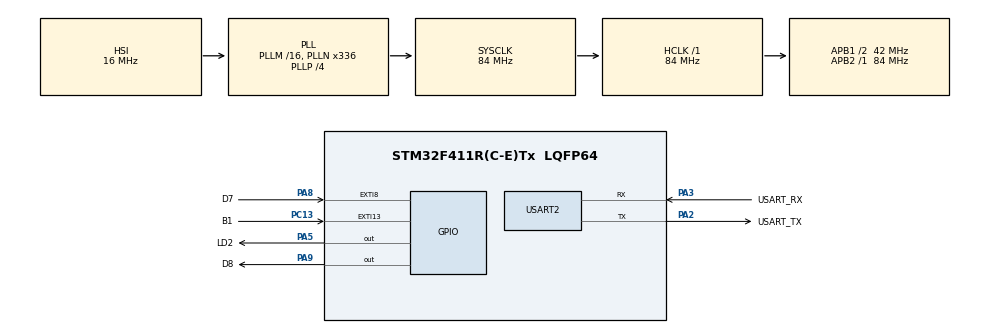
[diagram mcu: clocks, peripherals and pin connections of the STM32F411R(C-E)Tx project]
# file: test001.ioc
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Mcu.Family=STM32F4
Mcu.Name=STM32F411R(C-E)Tx
Mcu.Package=LQFP64
NVIC.EXTI15_10_IRQn=true\:0\:0\:false\:false\:true\:true\:true\:true
NVIC.EXTI9_5_IRQn=true\:0\:0\:false\:false\:true\:true\:true\:true
NVIC.PriorityGroup=NVIC_PRIORITYGROUP_0
PA13.GPIO_Label=TMS
PA13.Mode=Serial_Wire
PA13.Signal=SYS_JTMS-SWDIO
PA14.GPIO_Label=TCK
PA14.Mode=Serial_Wire
PA14.Signal=SYS_JTCK-SWCLK
PA2.GPIO_Label=USART_TX
PA2.Mode=Asynchronous
PA2.Signal=USART2_TX
PA3.GPIO_Label=USART_RX
PA3.Mode=Asynchronous
PA3.Signal=USART2_RX
PA5.GPIO_Label=LD2
PA5.Signal=GPIO_Output
PA8.GPIO_Label=D7
PA8.Signal=GPXTI8
PA9.GPIO_Label=D8
PA9.Signal=GPIO_Output
PB3.GPIO_Label=SWO
PB3.Signal=SYS_JTDO-SWO
PC13-ANTI_TAMP.GPIO_Label=B1
PC13-ANTI_TAMP.GPIO_ModeDefaultEXTI=GPIO_MODE_IT_FALLING
PC13-ANTI_TAMP.Signal=GPXTI13
PC14-OSC32_IN.Mode=LSE-External-Oscillator
PC14-OSC32_IN.Signal=RCC_OSC32_IN
PC15-OSC32_OUT.Mode=LSE-External-Oscillator
PC15-OSC32_OUT.Signal=RCC_OSC32_OUT
PH0\ -\ OSC_IN.Mode=HSE-External-Clock-Source
PH0\ -\ OSC_IN.Signal=RCC_OSC_IN
PH1\ -\ OSC_OUT.Mode=HSE-External-Clock-Source
PH1\ -\ OSC_OUT.Signal=RCC_OSC_OUT
ProjectManager.HeapSize=0x200
ProjectManager.StackSize=0x400
ProjectManager.TargetToolchain=STM32CubeIDE
RCC.48MHZClocksFreq_Value=84000000
RCC.AHBFreq_Value=84000000
RCC.APB1CLKDivider=RCC_HCLK_DIV2
RCC.APB1Freq_Value=42000000
RCC.APB1TimFreq_Value=84000000
RCC.APB2Freq_Value=84000000
RCC.APB2TimFreq_Value=84000000
RCC.CortexFreq_Value=84000000
RCC.FLatency-AdvancedSettings=FLASH_LATENCY_2
RCC.HCLKFreq_Value=84000000
RCC.HSE_VALUE=8000000
RCC.HSI_VALUE=16000000
RCC.PLLN=336
RCC.PLLP=RCC_PLLP_DIV4
RCC.SYSCLKFreq_VALUE=84000000
RCC.SYSCLKSource=RCC_SYSCLKSOURCE_PLLCLK
RCC.VCOOutputFreq_Value=336000000
USART2.VirtualMode=VM_ASYNC
board=NUCLEO-F411RE

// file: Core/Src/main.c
/* USER CODE BEGIN Header */
/**
  ******************************************************************************
  * @file           : main.c
  * @brief          : Main program body
  ******************************************************************************
  * @attention
  *
  * Copyright (c) 2024 STMicroelectronics.
  * All rights reserved.
  *
  * This software is licensed under terms that can be found in the LICENSE file
  * in the root directory of this software component.
  * If no LICENSE file comes with this software, it is provided AS-IS.
  *
  ******************************************************************************
  */
/* USER CODE END Header */
#include "main.h"

/* USER CODE BEGIN Includes */
#include <stdio.h>
/* USER CODE END Includes */

UART_HandleTypeDef huart2;

void SystemClock_Config(void);
static void MX_GPIO_Init(void);
static void MX_USART2_UART_Init(void);

/* USER CODE BEGIN 0 */
int mode = 1;
int del_val = 500;
void StandBy()
{
	while(HAL_GPIO_ReadPin(B1_GPIO_Port, B1_Pin));
}
void HAL_GPIO_EXTI_Callback(uint16_t btn) //External Interrupt ISR
{
	switch(btn)
	{
	case B1_Pin :
		mode = mode ? 0 : 1;
		break;
	//mode = ~mode;
	case D7_Pin :
		del_val = (del_val<100) ? 1000 : del_val - 100;
		break;
	}
}
/* USER CODE END 0 */

int main(void)
{

  /* MCU Configuration--------------------------------------------------------*/

  /* Reset of all peripherals, Initializes the Flash interface and the Systick. */
  HAL_Init();

  /* Configure the system clock */
  SystemClock_Config();

  /* Initialize all configured peripherals */
  MX_GPIO_Init();
  MX_USART2_UART_Init();
  /* USER CODE BEGIN 2 */
  StandBy();

  /* USER CODE END 2 */

  /* Infinite loop */
  while (1)
  {

    /* USER CODE BEGIN 3 */

	  if(mode)
	  {
		  HAL_GPIO_WritePin(LD2_GPIO_Port, LD2_Pin, 1);
		  HAL_Delay(500); // ms
		  HAL_GPIO_WritePin(LD2_GPIO_Port, LD2_Pin, 0);
		  HAL_Delay(500); // ms
	  }
	  else
	  {
		  HAL_GPIO_WritePin(D8_GPIO_Port, D8_Pin, 1);
		  HAL_Delay(del_val); // ms
		  HAL_GPIO_WritePin(D8_GPIO_Port, D8_Pin, 0);
		  HAL_Delay(del_val); // ms
	  }
  }
  /* USER CODE END 3 */
}

void SystemClock_Config(void)
{
  RCC_OscInitTypeDef RCC_OscInitStruct = {0};
  RCC_ClkInitTypeDef RCC_ClkInitStruct = {0};

  /** Configure the main internal regulator output voltage
  */
  __HAL_RCC_PWR_CLK_ENABLE();
  __HAL_PWR_VOLTAGESCALING_CONFIG(PWR_REGULATOR_VOLTAGE_SCALE1);

  /** Initializes the RCC Oscillators according to the specified parameters
  * in the RCC_OscInitTypeDef structure.
  */
  RCC_OscInitStruct.OscillatorType = RCC_OSCILLATORTYPE_HSI;
  RCC_OscInitStruct.HSIState = RCC_HSI_ON;
  RCC_OscInitStruct.HSICalibrationValue = RCC_HSICALIBRATION_DEFAULT;
  RCC_OscInitStruct.PLL.PLLState = RCC_PLL_ON;
  RCC_OscInitStruct.PLL.PLLSource = RCC_PLLSOURCE_HSI;
  RCC_OscInitStruct.PLL.PLLM = 16;
  RCC_OscInitStruct.PLL.PLLN = 336;
  RCC_OscInitStruct.PLL.PLLP = RCC_PLLP_DIV4;
  RCC_OscInitStruct.PLL.PLLQ = 4;
  if (HAL_RCC_OscConfig(&RCC_OscInitStruct) != HAL_OK)
  {
    Error_Handler();
  }

  /** Initializes the CPU, AHB and APB buses clocks
  */
  RCC_ClkInitStruct.ClockType = RCC_CLOCKTYPE_HCLK|RCC_CLOCKTYPE_SYSCLK
                              |RCC_CLOCKTYPE_PCLK1|RCC_CLOCKTYPE_PCLK2;
  RCC_ClkInitStruct.SYSCLKSource = RCC_SYSCLKSOURCE_PLLCLK;
  RCC_ClkInitStruct.AHBCLKDivider = RCC_SYSCLK_DIV1;
  RCC_ClkInitStruct.APB1CLKDivider = RCC_HCLK_DIV2;
  RCC_ClkInitStruct.APB2CLKDivider = RCC_HCLK_DIV1;

  if (HAL_RCC_ClockConfig(&RCC_ClkInitStruct, FLASH_LATENCY_2) != HAL_OK)
  {
    Error_Handler();
  }
}

static void MX_USART2_UART_Init(void)
{

  huart2.Instance = USART2;
  huart2.Init.BaudRate = 115200;
  huart2.Init.WordLength = UART_WORDLENGTH_8B;
  huart2.Init.StopBits = UART_STOPBITS_1;
  huart2.Init.Parity = UART_PARITY_NONE;
  huart2.Init.Mode = UART_MODE_TX_RX;
  huart2.Init.HwFlowCtl = UART_HWCONTROL_NONE;
  huart2.Init.OverSampling = UART_OVERSAMPLING_16;
  if (HAL_UART_Init(&huart2) != HAL_OK)
  {
    Error_Handler();
  }

}

static void MX_GPIO_Init(void)
{
  GPIO_InitTypeDef GPIO_InitStruct = {0};

  /* GPIO Ports Clock Enable */
  __HAL_RCC_GPIOC_CLK_ENABLE();
  __HAL_RCC_GPIOH_CLK_ENABLE();
  __HAL_RCC_GPIOA_CLK_ENABLE();
  __HAL_RCC_GPIOB_CLK_ENABLE();

  /*Configure GPIO pin Output Level */
  HAL_GPIO_WritePin(GPIOA, LD2_Pin|D8_Pin, GPIO_PIN_RESET);

  /*Configure GPIO pin : B1_Pin */
  GPIO_InitStruct.Pin = B1_Pin;
  GPIO_InitStruct.Mode = GPIO_MODE_IT_FALLING;
  GPIO_InitStruct.Pull = GPIO_NOPULL;
  HAL_GPIO_Init(B1_GPIO_Port, &GPIO_InitStruct);

  /*Configure GPIO pins : LD2_Pin D8_Pin */
  GPIO_InitStruct.Pin = LD2_Pin|D8_Pin;
  GPIO_InitStruct.Mode = GPIO_MODE_OUTPUT_PP;
  GPIO_InitStruct.Pull = GPIO_NOPULL;
  GPIO_InitStruct.Speed = GPIO_SPEED_FREQ_LOW;
  HAL_GPIO_Init(GPIOA, &GPIO_InitStruct);

  /*Configure GPIO pin : D7_Pin */
  GPIO_InitStruct.Pin = D7_Pin;
  GPIO_InitStruct.Mode = GPIO_MODE_IT_RISING;
  GPIO_InitStruct.Pull = GPIO_NOPULL;
  HAL_GPIO_Init(D7_GPIO_Port, &GPIO_InitStruct);

  /* EXTI interrupt init*/
  HAL_NVIC_SetPriority(EXTI9_5_IRQn, 0, 0);
  HAL_NVIC_EnableIRQ(EXTI9_5_IRQn);

  HAL_NVIC_SetPriority(EXTI15_10_IRQn, 0, 0);
  HAL_NVIC_EnableIRQ(EXTI15_10_IRQn);

}

void Error_Handler(void)
{
  __disable_irq();
  while (1)
  {
  }
}
